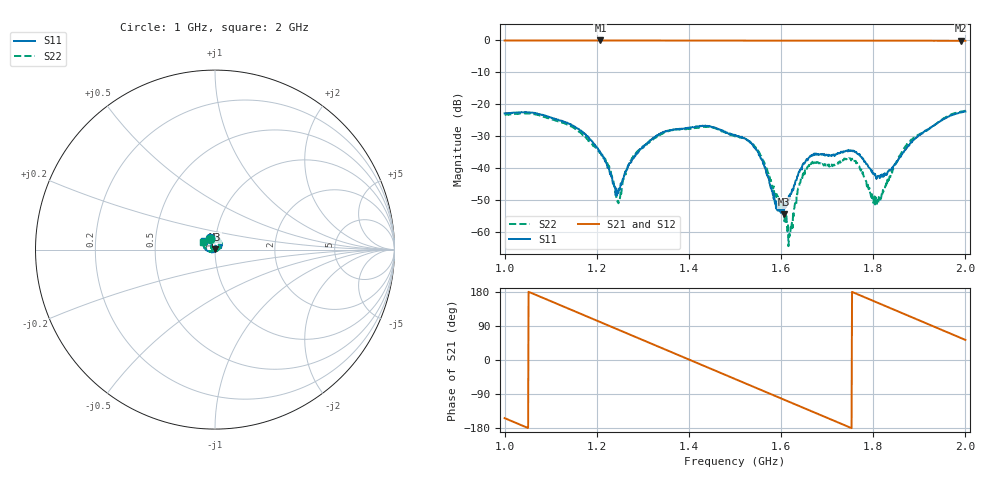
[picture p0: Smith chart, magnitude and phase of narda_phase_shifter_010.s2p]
#  HZ  S  DB  R  50.00
! Rohde & Schwarz Vector Network Analyzer
! Rohde-Schwarz,ZNB8-4Port,1311601044102961,2.82
! Created: UTC 3/4/2022, 4:03:36 PM
! freq[Hz]  db:S11  ang:S11  db:S21  ang:S21  db:S12  ang:S12  db:S22  ang:S22
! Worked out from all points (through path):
!   1001 points, 1 GHz to 2 GHz, reference 50 ohm
!   highest |S21| = -0.14 dB at 1.208 GHz (marker M1); lowest = -0.3 dB at 1.99 GHz (marker M2)
!   group delay of S21, straight-line fit = 1.43 ns
!   lowest |S11| = -54.6 dB at 1.606 GHz (marker M3), VSWR 1.00, Z = 50 + j0.186 ohm
!   |S11| at or under -10 dB: start of sweep to end of sweep
!   |S22| runs from -64.5 to -22.2 dB; largest |S21 - S12| = 0.0025
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1e9  -22.95 115.3  -0.16 -153.4  -0.14 -153.4  -23.39 115.5
1.082e9  -23.40 71.2  -0.15 164.6  -0.15 164.5  -23.80 73.3
1.167e9  -28.62 22.3  -0.15 121.0  -0.14 121.0  -29.29 27.3
1.208e9  -35.27 4.2  -0.14 99.9  -0.14 99.9  -35.36 -12.0
1.226e9  -40.01 -15.8  -0.15 90.6  -0.15 90.7  -39.54 -31.0
1.246e9  -47.92 -103.3  -0.16 80.3  -0.14 80.3  -50.31 -102.7
1.277e9  -37.29 165.8  -0.16 64.4  -0.15 64.4  -36.86 168.3
1.334e9  -29.70 126.5  -0.16 35.1  -0.16 35.1  -30.09 132.2
1.415e9  -27.03 79.9  -0.18 -6.4  -0.17 -6.4  -27.49 90.5
1.5e9  -29.79 35.4  -0.18 -50.0  -0.18 -50.0  -30.21 43.2
1.552e9  -36.10 7.7  -0.19 -76.8  -0.19 -76.7  -35.04 22.2
1.591e9  -53.08 14.8  -0.20 -96.8  -0.20 -96.8  -47.87 11.0
1.606e9  -54.58 85.2  -0.20 -104.5  -0.21 -104.5  -52.41 4.9
1.62e9  -48.17 105.3  -0.21 -111.7  -0.21 -111.7  -60.43 46.1
1.641e9  -40.59 125.5  -0.21 -122.4  -0.21 -122.4  -44.75 128.8
1.667e9  -36.27 114.6  -0.21 -135.7  -0.22 -135.7  -38.50 135.2
1.758e9  -34.73 58.8  -0.20 177.6  -0.20 177.7  -37.69 106.8
1.805e9  -42.63 -1.9  -0.20 153.4  -0.20 153.5  -49.15 158.4
1.834e9  -41.00 -64.4  -0.20 138.5  -0.20 138.5  -43.94 -161.0
1.884e9  -32.02 -146.7  -0.21 112.8  -0.21 112.8  -31.20 -156.9
1.99e9  -22.68 148.5  -0.25 58.2  -0.24 58.2  -22.42 152.3
2e9  -22.40 143.3  -0.25 53.0  -0.25 53.1  -22.18 147.2
